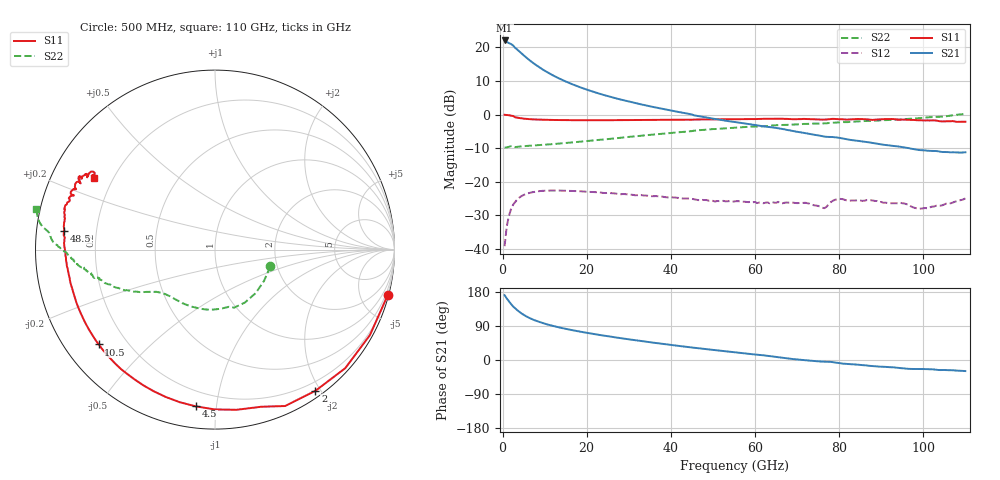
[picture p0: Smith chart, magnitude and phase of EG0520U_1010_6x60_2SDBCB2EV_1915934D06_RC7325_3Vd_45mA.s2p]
!File name = EG0520U_1010_6x60_2SDBCB2EV_1915934D06_RC7325_3Vd_45mA.s2p
!Base file name = EG0520U_1010_6x60_2SDBCB2EV_1915934D06_RC7325
!Date = 8/23/2019
!Time = 1:09 PM
!Test duration(min) = 0.15
!Test = S-Parameters
!MPTS version = 8.91.5
!State File = C:\Data\PNA\20190821205423\S-Parameters_2019-08-23.sta
!Cal File =
!ComputerName = CMPE-LAB-6
!Comments =
!Attenuation = 0
!Z0 = 50
!Input Power(dBm) = -13.00
!Device ID = EG0520U_1010_6x60_2SDBCB2EV
!Row = 73
!Column = 25
!Technology = QPHT09
!Lot/Wafer = 1915934D06
!Gate Size = 360
!Mask = EG0520
!Cal Standards = GaAs BCB
!Cal Kit = EG2306
!Job Number = 20190821205423
!Device Type = FET
!set_Vg(v) = -1.500
!set_Vd(v) = 3.000
!set_Vd(mA) = 45.000
!file_name = EG0520U_1010_6x60_2SDBCB2EV_1915934D06_RC7325_3Vd_45mA.s2p
!Vd(V) = 3.000
!Vd(mA) = 44.865
!Vg(V) = -0.499
!Vg(mA) = -0.001
# GHz  S  DB  R  50
!%	Freq(GHz)  s11(dB)  s11(deg)  s21(dB)  s21(deg)  s12(dB)  s12(deg)  s22(dB)  s22(deg)
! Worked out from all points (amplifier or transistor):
!   220 points, 500 MHz to 110 GHz, reference 50 ohm
!   highest |S21| = 22.1 dB at 500 MHz (marker M1)
!   |S21| within 3 dB of that: start of sweep to 3.744 GHz
!   unconditionally stable (mu >= 1): 33.64 GHz to 105 GHz
!   at 18.5 GHz: K = 0.53, MSG = 15.5 dB, |S12| = -22.8 dB
!   at 55.5 GHz: K = 1.51, MAG = 7.6 dB, |S12| = -25.8 dB
!   at 110 GHz: K = -1.42, MSG = 6.9 dB, |S12| = -24.9 dB
!   S11 on the Smith chart (normalised r, x): 500 MHz: 0.14, -7.80; 2 GHz: 0.08, -1.94; 4.5 GHz: 0.11, -0.88; 10.5 GHz: 0.10, -0.35; 48.5 GHz: 0.08, +0.06; 110 GHz: 0.13, +0.27
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0.5  -0.04 -14.6  22.10 171.1  -39.20 81.5  -9.86 -17.0
1  -0.12 -28.9  21.67 162.6  -33.41 73.8  -9.79 -32.3
2  -0.31 -54.6  21.05 148.0  -28.25 59.7  -9.40 -60.6
2.5  -0.40 -65.9  20.61 141.6  -26.87 53.9  -9.35 -71.7
3  -0.79 -73.5  19.93 136.6  -26.05 49.6  -9.68 -76.3
3.5  -0.91 -82.3  19.37 131.5  -25.30 45.2  -9.60 -84.5
4.5  -1.11 -96.9  18.25 123.0  -24.29 37.8  -9.44 -97.9
5.5  -1.25 -108.5  17.16 116.0  -23.68 32.1  -9.36 -107.9
7  -1.40 -121.7  15.65 107.8  -23.15 25.7  -9.19 -118.5
8.5  -1.47 -131.2  14.31 101.4  -22.83 21.1  -9.09 -125.1
10.5  -1.55 -140.8  12.73 94.3  -22.66 16.1  -8.92 -131.8
14  -1.63 -152.2  10.45 84.7  -22.64 10.4  -8.56 -138.5
19  -1.67 -162.2  7.90 73.7  -22.87 5.4  -7.99 -143.6
26.5  -1.65 -171.5  5.00 60.2  -23.46 1.8  -7.07 -147.9
37  -1.56 -179.5  1.97 44.0  -24.33 0.9  -5.81 -152.9
48.5  -1.43 173.1  -0.86 28.6  -25.46 1.8  -4.47 -159.6
55.5  -1.37 169.1  -2.25 20.2  -25.78 3.3  -3.85 -163.2
73.5  -1.37 159.5  -5.87 -2.2  -26.83 -1.8  -2.65 -171.6
80  -1.37 156.9  -6.90 -8.3  -25.09 2.6  -2.28 -173.8
92  -1.34 151.6  -9.19 -18.9  -26.38 -15.3  -1.61 -179.0
101  -1.72 150.4  -10.77 -24.1  -27.96 -12.2  -0.83 176.7
110  -2.13 149.3  -11.22 -29.2  -24.95 -12.1  0.21 167.3
